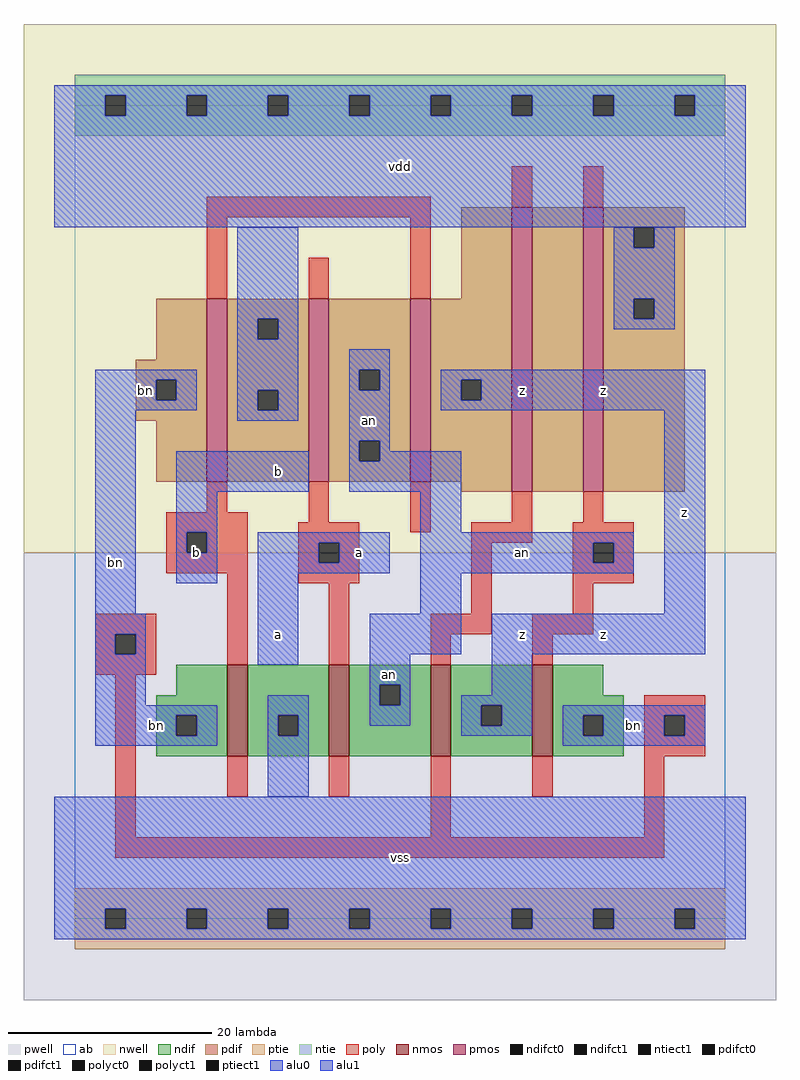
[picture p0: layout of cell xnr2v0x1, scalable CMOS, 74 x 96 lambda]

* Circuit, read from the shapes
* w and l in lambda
.subckt xnr2v0x1 a an b bn vdd vss z
M1 vss b bn vss nfet w=9 l=2
M2 an a vss vss nfet w=9 l=2
M3 z bn an vss nfet w=9 l=2
M4 bn an z vss nfet w=9 l=2
M5 vdd b bn vdd pfet w=18 l=2
M6 an a vdd vdd pfet w=18 l=2
M7 z b an vdd pfet w=18 l=2
M8 n1 bn z vdd pfet w=28 l=2
M9 vdd an n1 vdd pfet w=28 l=2
.ends

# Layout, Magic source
magic
tech scmos
<< ab >>
rect 0 0 64 80
<< nwell >>
rect -5 36 69 88
<< pwell >>
rect -5 -8 69 36
<< poly >>
rect 13 69 35 71
rect 43 70 45 74
rect 50 70 52 74
rect 13 61 15 69
rect 23 61 25 65
rect 33 61 35 69
rect 13 40 15 43
rect 9 38 17 40
rect 23 39 25 43
rect 9 36 11 38
rect 13 36 17 38
rect 9 34 17 36
rect 2 28 8 30
rect 2 26 4 28
rect 6 26 8 28
rect 2 24 8 26
rect 15 25 17 34
rect 22 37 28 39
rect 33 38 35 43
rect 43 39 45 42
rect 50 39 52 42
rect 22 35 24 37
rect 26 35 28 37
rect 22 33 28 35
rect 39 37 45 39
rect 49 37 55 39
rect 25 25 27 33
rect 39 30 41 37
rect 49 35 51 37
rect 53 35 55 37
rect 49 33 55 35
rect 49 30 51 33
rect 35 28 41 30
rect 45 28 51 30
rect 35 25 37 28
rect 45 25 47 28
rect 4 8 6 24
rect 56 20 62 22
rect 56 18 58 20
rect 60 18 62 20
rect 56 16 62 18
rect 15 12 17 16
rect 25 12 27 16
rect 35 8 37 16
rect 45 12 47 16
rect 56 8 58 16
rect 4 6 58 8
<< ndif >>
rect 10 22 15 25
rect 8 20 15 22
rect 8 18 10 20
rect 12 18 15 20
rect 8 16 15 18
rect 17 20 25 25
rect 17 18 20 20
rect 22 18 25 20
rect 17 16 25 18
rect 27 23 35 25
rect 27 21 30 23
rect 32 21 35 23
rect 27 16 35 21
rect 37 21 45 25
rect 37 19 40 21
rect 42 19 45 21
rect 37 16 45 19
rect 47 22 52 25
rect 47 20 54 22
rect 47 18 50 20
rect 52 18 54 20
rect 47 16 54 18
<< pdif >>
rect 38 61 43 70
rect 8 55 13 61
rect 6 53 13 55
rect 6 51 8 53
rect 10 51 13 53
rect 6 49 13 51
rect 8 43 13 49
rect 15 59 23 61
rect 15 57 18 59
rect 20 57 23 59
rect 15 52 23 57
rect 15 50 18 52
rect 20 50 23 52
rect 15 43 23 50
rect 25 54 33 61
rect 25 52 28 54
rect 30 52 33 54
rect 25 47 33 52
rect 25 45 28 47
rect 30 45 33 47
rect 25 43 33 45
rect 35 53 43 61
rect 35 51 38 53
rect 40 51 43 53
rect 35 43 43 51
rect 38 42 43 43
rect 45 42 50 70
rect 52 68 60 70
rect 52 66 55 68
rect 57 66 60 68
rect 52 61 60 66
rect 52 59 55 61
rect 57 59 60 61
rect 52 42 60 59
<< alu1 >>
rect -2 81 66 82
rect -2 79 3 81
rect 5 79 11 81
rect 13 79 19 81
rect 21 79 27 81
rect 29 79 35 81
rect 37 79 43 81
rect 45 79 51 81
rect 53 79 59 81
rect 61 79 66 81
rect -2 68 66 79
rect 36 53 62 54
rect 36 51 38 53
rect 40 51 62 53
rect 36 50 62 51
rect 10 42 23 46
rect 10 38 14 42
rect 10 36 11 38
rect 13 36 14 38
rect 10 33 14 36
rect 18 37 31 38
rect 18 35 24 37
rect 26 35 31 37
rect 18 34 31 35
rect 18 25 22 34
rect 58 30 62 50
rect 41 26 62 30
rect 41 22 45 26
rect 38 21 45 22
rect 38 19 40 21
rect 42 19 45 21
rect 38 18 45 19
rect -2 1 66 12
rect -2 -1 3 1
rect 5 -1 11 1
rect 13 -1 19 1
rect 21 -1 27 1
rect 29 -1 35 1
rect 37 -1 43 1
rect 45 -1 51 1
rect 53 -1 59 1
rect 61 -1 66 1
rect -2 -2 66 -1
<< ptie >>
rect 0 1 64 3
rect 0 -1 3 1
rect 5 -1 11 1
rect 13 -1 19 1
rect 21 -1 27 1
rect 29 -1 35 1
rect 37 -1 43 1
rect 45 -1 51 1
rect 53 -1 59 1
rect 61 -1 64 1
rect 0 -3 64 -1
<< ntie >>
rect 0 81 64 83
rect 0 79 3 81
rect 5 79 11 81
rect 13 79 19 81
rect 21 79 27 81
rect 29 79 35 81
rect 37 79 43 81
rect 45 79 51 81
rect 53 79 59 81
rect 61 79 64 81
rect 0 77 64 79
<< nmos >>
rect 15 16 17 25
rect 25 16 27 25
rect 35 16 37 25
rect 45 16 47 25
<< pmos >>
rect 13 43 15 61
rect 23 43 25 61
rect 33 43 35 61
rect 43 42 45 70
rect 50 42 52 70
<< polyct0 >>
rect 4 26 6 28
rect 51 35 53 37
rect 58 18 60 20
<< polyct1 >>
rect 11 36 13 38
rect 24 35 26 37
<< ndifct0 >>
rect 10 18 12 20
rect 20 18 22 20
rect 30 21 32 23
rect 50 18 52 20
<< ndifct1 >>
rect 40 19 42 21
<< ntiect1 >>
rect 3 79 5 81
rect 11 79 13 81
rect 19 79 21 81
rect 27 79 29 81
rect 35 79 37 81
rect 43 79 45 81
rect 51 79 53 81
rect 59 79 61 81
<< ptiect1 >>
rect 3 -1 5 1
rect 11 -1 13 1
rect 19 -1 21 1
rect 27 -1 29 1
rect 35 -1 37 1
rect 43 -1 45 1
rect 51 -1 53 1
rect 59 -1 61 1
<< pdifct0 >>
rect 8 51 10 53
rect 18 57 20 59
rect 18 50 20 52
rect 28 52 30 54
rect 28 45 30 47
rect 55 66 57 68
rect 55 59 57 61
<< pdifct1 >>
rect 38 51 40 53
<< alu0 >>
rect 16 59 22 68
rect 16 57 18 59
rect 20 57 22 59
rect 53 66 55 68
rect 57 66 59 68
rect 53 61 59 66
rect 53 59 55 61
rect 57 59 59 61
rect 53 58 59 59
rect 2 53 12 54
rect 2 51 8 53
rect 10 51 12 53
rect 2 50 12 51
rect 16 52 22 57
rect 16 50 18 52
rect 20 50 22 52
rect 2 30 6 50
rect 16 49 22 50
rect 27 54 31 56
rect 27 52 28 54
rect 30 52 31 54
rect 27 47 31 52
rect 27 45 28 47
rect 30 46 31 47
rect 30 45 38 46
rect 27 42 38 45
rect 34 38 38 42
rect 34 37 55 38
rect 34 35 51 37
rect 53 35 55 37
rect 34 34 55 35
rect 2 28 7 30
rect 2 26 4 28
rect 6 26 7 28
rect 2 21 7 26
rect 34 30 38 34
rect 29 26 38 30
rect 29 23 33 26
rect 2 20 14 21
rect 2 18 10 20
rect 12 18 14 20
rect 2 17 14 18
rect 19 20 23 22
rect 19 18 20 20
rect 22 18 23 20
rect 29 21 30 23
rect 32 21 33 23
rect 29 19 33 21
rect 48 20 62 21
rect 48 18 50 20
rect 52 18 58 20
rect 60 18 62 20
rect 19 12 23 18
rect 48 17 62 18
<< labels >>
rlabel alu0 8 19 8 19 6 bn
rlabel alu0 4 35 4 35 6 bn
rlabel alu0 7 52 7 52 6 bn
rlabel alu0 29 49 29 49 6 an
rlabel alu0 31 24 31 24 6 an
rlabel alu0 55 19 55 19 6 bn
rlabel alu0 44 36 44 36 6 an
rlabel alu1 12 36 12 36 6 b
rlabel alu1 28 36 28 36 6 a
rlabel alu1 20 28 20 28 6 a
rlabel alu1 20 44 20 44 6 b
rlabel alu1 32 6 32 6 6 vss
rlabel alu1 44 28 44 28 6 z
rlabel alu1 44 52 44 52 6 z
rlabel alu1 32 74 32 74 6 vdd
rlabel alu1 52 28 52 28 6 z
rlabel alu1 60 40 60 40 6 z
rlabel alu1 52 52 52 52 6 z
<< end >>
